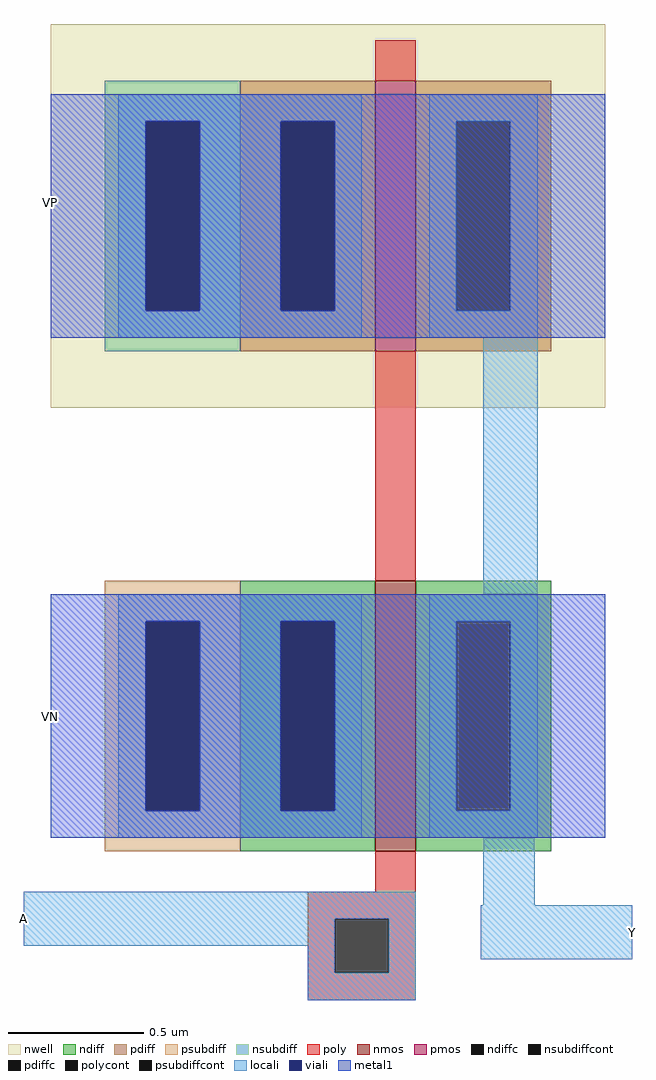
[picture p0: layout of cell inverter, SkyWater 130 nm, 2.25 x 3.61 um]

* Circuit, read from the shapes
.subckt inverter A Y VP VN
XM1 Y A VN VN sky130_fd_pr__nfet_01v8 w=1 l=0.15
XM2 Y A VP VP sky130_fd_pr__pfet_01v8 w=1 l=0.15
.ends

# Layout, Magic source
magic
tech sky130A
<< nwell >>
rect -120 -21 85 121
<< nmos >>
rect 0 -185 15 -85
<< pmos >>
rect 0 0 15 100
<< ndiff >>
rect -50 -100 0 -85
rect -50 -170 -35 -100
rect -15 -170 0 -100
rect -50 -185 0 -170
rect 15 -100 65 -85
rect 15 -170 30 -100
rect 50 -170 65 -100
rect 15 -185 65 -170
<< pdiff >>
rect -50 85 0 100
rect -50 15 -35 85
rect -15 15 0 85
rect -50 0 0 15
rect 15 85 65 100
rect 15 15 30 85
rect 50 15 65 85
rect 15 0 65 15
<< ndiffc >>
rect -35 -170 -15 -100
rect 30 -170 50 -100
<< pdiffc >>
rect -35 15 -15 85
rect 30 15 50 85
<< psubdiff >>
rect -100 -100 -50 -85
rect -100 -170 -85 -100
rect -65 -170 -50 -100
rect -100 -185 -50 -170
<< nsubdiff >>
rect -100 85 -50 100
rect -100 15 -85 85
rect -65 15 -50 85
rect -100 0 -50 15
<< psubdiffcont >>
rect -85 -170 -65 -100
<< nsubdiffcont >>
rect -85 15 -65 85
<< poly >>
rect 0 100 15 115
rect 0 -85 15 0
rect 0 -200 15 -185
rect -25 -210 15 -200
rect -25 -230 -15 -210
rect 5 -230 15 -210
rect -25 -240 15 -230
<< polycont >>
rect -15 -230 5 -210
<< locali >>
rect -95 85 -5 95
rect -95 15 -85 85
rect -65 15 -35 85
rect -15 15 -5 85
rect -95 5 -5 15
rect 20 85 60 95
rect 20 15 30 85
rect 50 15 60 85
rect 20 5 60 15
rect 40 -90 60 5
rect -95 -100 -5 -90
rect -95 -170 -85 -100
rect -65 -170 -35 -100
rect -15 -170 -5 -100
rect -95 -180 -5 -170
rect 20 -100 60 -90
rect 20 -170 30 -100
rect 50 -170 60 -100
rect 20 -180 60 -170
rect -130 -210 15 -200
rect 40 -205 59 -180
rect -130 -220 -15 -210
rect -25 -230 -15 -220
rect 5 -230 15 -210
rect 39 -225 95 -205
rect -25 -240 15 -230
<< viali >>
rect -85 15 -65 85
rect -35 15 -15 85
rect -85 -170 -65 -100
rect -35 -170 -15 -100
<< metal1 >>
rect -120 85 85 95
rect -120 15 -85 85
rect -65 15 -35 85
rect -15 15 85 85
rect -120 5 85 15
rect -120 -100 85 -90
rect -120 -170 -85 -100
rect -65 -170 -35 -100
rect -15 -170 85 -100
rect -120 -180 85 -170
<< labels >>
rlabel locali -130 -210 -130 -210 3 A
port 1 e
rlabel locali 95 -215 95 -215 7 Y
port 2 w
rlabel metal1 -120 55 -120 55 1 VP
port 3 n
rlabel metal1 -120 -135 -120 -135 1 VN
port 4 n
<< end >>
